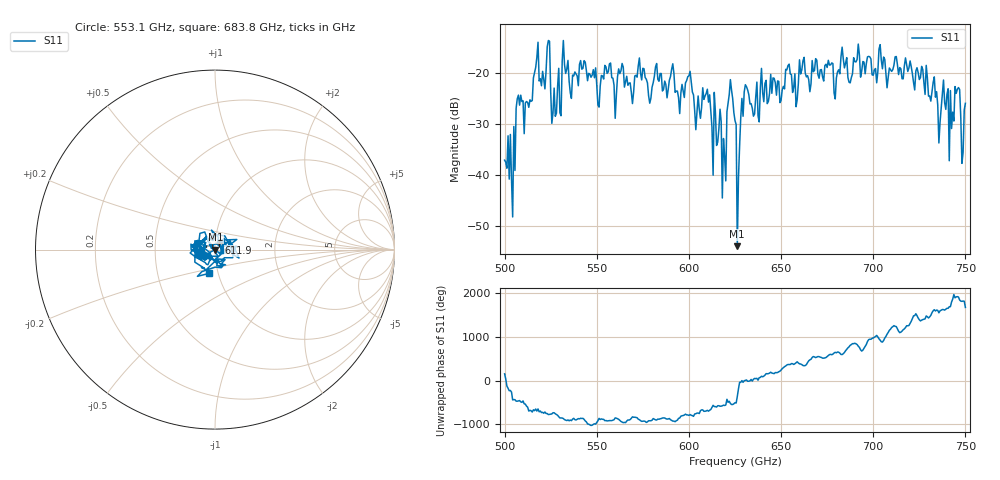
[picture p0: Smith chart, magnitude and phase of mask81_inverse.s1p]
!Created with skrf (http://scikit-rf.org).
# GHz S MA R 50.0
!freq magS11 angS11
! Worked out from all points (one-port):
!   401 points, 500 GHz to 750 GHz, reference 50 ohm
!   lowest |S11| = -54.0 dB at 626.2 GHz (marker M1), VSWR 1.00, Z = 50.2 - j0.00656 ohm
!   |S11| at or under -10 dB: start of sweep to end of sweep
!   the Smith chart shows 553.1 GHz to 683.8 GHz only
!   S11 on the Smith chart (normalised r, x): 553.1 GHz: 0.84, -0.05; 611.9 GHz: 1.04, +0.08; 683.8 GHz: 0.91, -0.24
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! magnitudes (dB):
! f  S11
! 500 GHz  -37.2
! 504.4 GHz  -48.3
! 507.5 GHz  -24.4
! 513.8 GHz  -25.3
! 516.9 GHz  -18.9
! 523.8 GHz  -13.7
! 526.9 GHz  -23.0
! 531.2 GHz  -17.7
! 553.1 GHz  -20.7
! 562.5 GHz  -20.2
! 593.8 GHz  -23.6
! 600 GHz  -20.6
! 611.9 GHz  -27.6
! 618.8 GHz  -32.9
! 622.5 GHz  -21.4
! 625 GHz  -29.4
! 626.2 GHz  -54.0
! 631.2 GHz  -22.8
! 656.2 GHz  -23.9
! 683.8 GHz  -17.3
! 687.5 GHz  -22.0
! 718.8 GHz  -19.7
! 735.6 GHz  -33.8
! 739.4 GHz  -27.2
! 742.5 GHz  -30.9
! 745.6 GHz  -23.2
! 748.1 GHz  -37.8
! 750 GHz  -26.0
